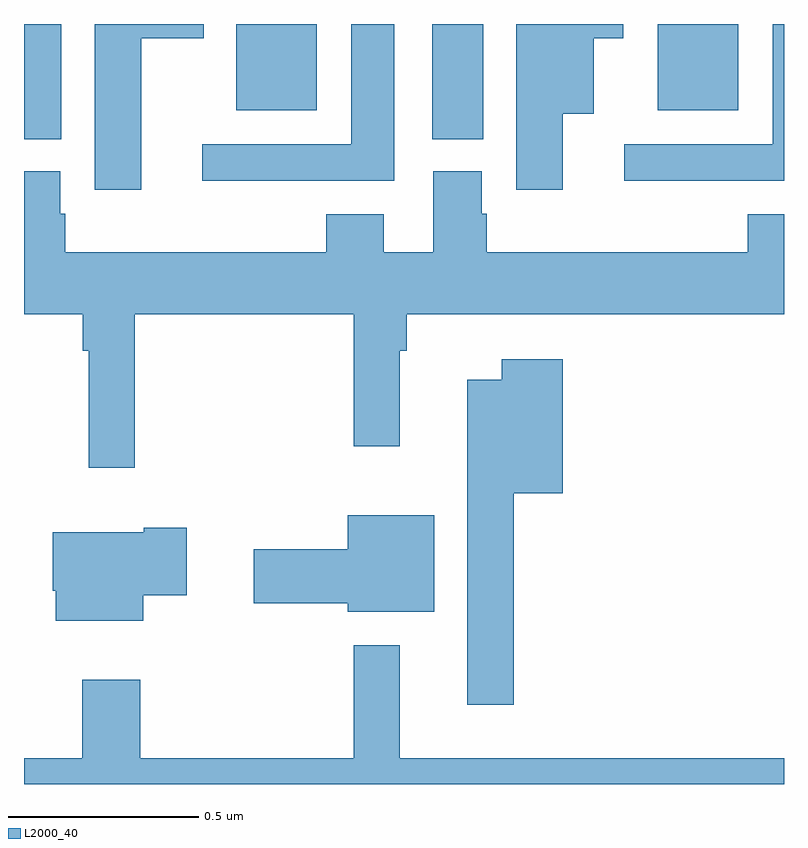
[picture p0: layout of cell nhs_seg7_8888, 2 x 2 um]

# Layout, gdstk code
import gdstk
lib = gdstk.Library(unit=1e-6, precision=1e-09)
def R(c, l, rs):  # rectangles x0, y0, x1, y1
    for r in rs: c.add(gdstk.rectangle(r[:2], r[2:], *l))
def P(c, l, *ps):  # polygons
    for p in ps: c.add(gdstk.Polygon(p, *l))
L2000_40 = (2000, 40)

nhs_seg7_8888 = lib.new_cell('nhs_seg7_8888')
R(nhs_seg7_8888, L2000_40, [(230,1047.697,230.098,1048), (231.074,1047.697,231.208,1048), (230.558,1047.773,230.77,1048), (231.668,1047.773,231.88,1048)])
P(nhs_seg7_8888, L2000_40, [(230.974,1048),(230.861,1048),(230.861,1047.684),(230.469,1047.684),(230.469,1047.587),(230.974,1047.587)],
  [(230.308,1047.962),(230.473,1047.962),(230.473,1048),(230.186,1048),(230.186,1047.564),(230.308,1047.564)],
  [(232,1048),(231.971,1048),(231.971,1047.684),(231.579,1047.684),(231.579,1047.587),(232,1047.587)],
  [(231.418,1047.764),(231.499,1047.764),(231.499,1047.962),(231.577,1047.962),(231.577,1048),(231.296,1048),(231.296,1047.564),(231.418,1047.564)],
  [(230.291,1047.236),(230.868,1047.236),(230.868,1046.889),(230.989,1046.889),(230.989,1047.14),(231.007,1047.14),(231.007,1047.236),(232,1047.236),(232,1047.499),(231.905,1047.499),(231.905,1047.4),(231.218,1047.4),(231.218,1047.501),(231.205,1047.501),(231.205,1047.612),(231.077,1047.612),(231.077,1047.4),(230.947,1047.4),(230.947,1047.499),(230.795,1047.499),(230.795,1047.4),(230.108,1047.4),(230.108,1047.501),(230.095,1047.501),(230.095,1047.612),(230,1047.612),(230,1047.236),(230.155,1047.236),(230.155,1047.14),(230.17,1047.14),(230.17,1046.832),(230.291,1046.832)],
  [(231.289,1046.765),(231.418,1046.765),(231.418,1047.118),(231.257,1047.118),(231.257,1047.064),(231.167,1047.064),(231.167,1046.208),(231.289,1046.208)],
  [(231.079,1046.707),(230.852,1046.707),(230.852,1046.618),(230.604,1046.618),(230.604,1046.476),(230.852,1046.476),(230.852,1046.453),(231.079,1046.453)],
  [(230.314,1046.497),(230.428,1046.497),(230.428,1046.675),(230.315,1046.675),(230.315,1046.662),(230.075,1046.662),(230.075,1046.508),(230.084,1046.508),(230.084,1046.429),(230.314,1046.429)],
  [(232,1046.068),(230.989,1046.068),(230.989,1046.365),(230.868,1046.365),(230.868,1046.068),(230.306,1046.068),(230.306,1046.275),(230.153,1046.275),(230.153,1046.068),(230,1046.068),(230,1046),(232,1046)])

lib.write_gds('nhs_seg7_8888.gds')
